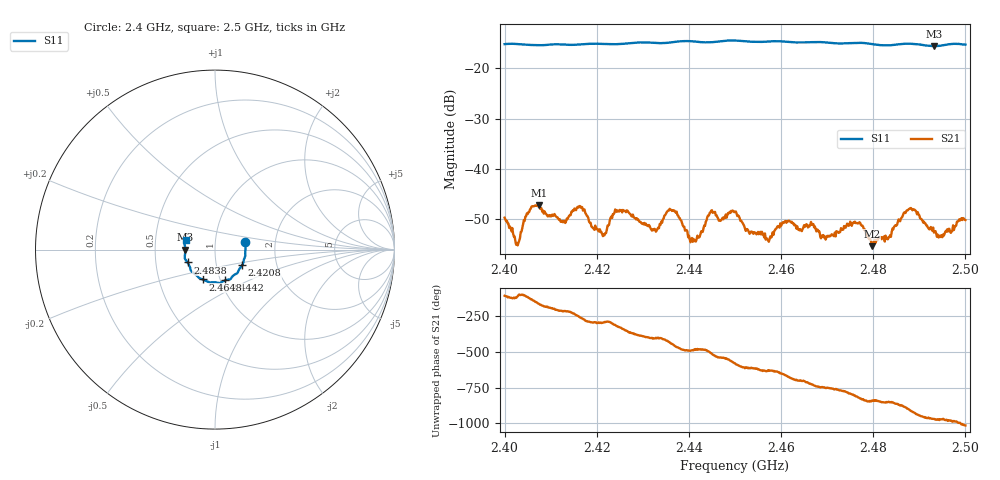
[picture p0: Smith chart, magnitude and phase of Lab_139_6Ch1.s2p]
# Hz S RI R 50
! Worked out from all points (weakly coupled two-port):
!   601 points, 2.4 GHz to 2.5 GHz, reference 50 ohm
!   highest |S21| = -47.22 dB at 2.4075 GHz (marker M1); lowest = -55.3 dB at 2.4797 GHz (marker M2)
!   lowest |S11| = -15.6 dB at 2.4932 GHz (marker M3), VSWR 1.40, Z = 35.8 - j0.0782 ohm
!   |S11| at or under -10 dB: start of sweep to end of sweep
!   S12 and S22 are empty: the file has one direction only
!   S11 on the Smith chart (normalised r, x): 2.4 GHz: 1.40, +0.12; 2.4208 GHz: 1.33, -0.24; 2.4442 GHz: 1.05, -0.37; 2.4648 GHz: 0.83, -0.28; 2.4838 GHz: 0.73, -0.11; 2.5 GHz: 0.72, +0.08
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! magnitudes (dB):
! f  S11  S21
! 2.4 GHz  -15.2  -49.7
! 2.4028 GHz  -15.2  -55.2
! 2.4075 GHz  -15.4  -47.2
! 2.4127 GHz  -15.3  -50.6
! 2.4167 GHz  -15.3  -47.5
! 2.4208 GHz  -15.2  -52.5
! 2.4245 GHz  -15.2  -48.2
! 2.4333 GHz  -15.0  -51.6
! 2.4363 GHz  -14.9  -48.3
! 2.4412 GHz  -14.7  -54.1
! 2.4442 GHz  -14.9  -49.2
! 2.45 GHz  -14.5  -48.5
! 2.4572 GHz  -14.7  -54.1
! 2.4648 GHz  -14.9  -51.6
! 2.4667 GHz  -14.8  -51.1
! 2.4767 GHz  -15.0  -50.8
! 2.4797 GHz  -15.2  -55.3
! 2.4833 GHz  -15.5  -53.5
! 2.4838 GHz  -15.4  -53.4
! 2.4882 GHz  -15.2  -47.7
! 2.4932 GHz  -15.6  -52.6
! 2.5 GHz  -15.3  -50.1
